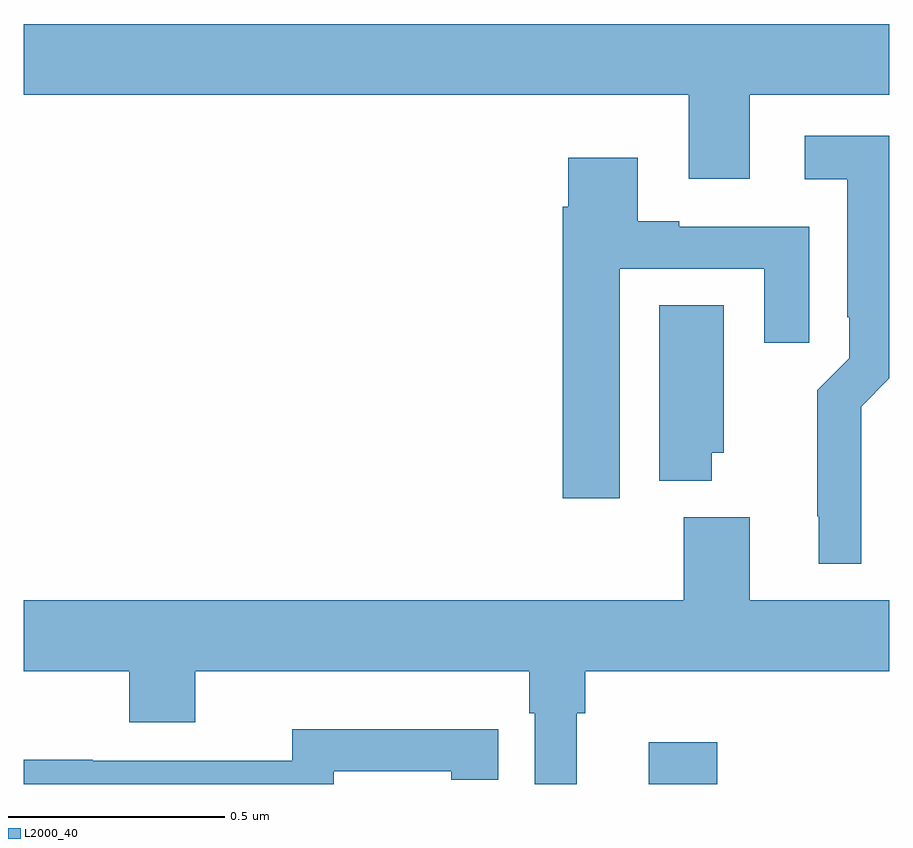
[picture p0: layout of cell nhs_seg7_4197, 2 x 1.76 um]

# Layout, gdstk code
import gdstk
lib = gdstk.Library(unit=1e-6, precision=1e-09)
def R(c, l, rs):  # rectangles x0, y0, x1, y1
    for r in rs: c.add(gdstk.rectangle(r[:2], r[2:], *l))
def P(c, l, *ps):  # polygons
    for p in ps: c.add(gdstk.Polygon(p, *l))
L2000_40 = (2000, 40)

nhs_seg7_4197 = lib.new_cell('nhs_seg7_4197')
R(nhs_seg7_4197, L2000_40, [(170.444,1023,170.603,1023.097)])
P(nhs_seg7_4197, L2000_40, [(170.677,1024.592),(171,1024.592),(171,1024.756),(169,1024.756),(169,1024.592),(170.537,1024.592),(170.537,1024.398),(170.677,1024.398)],
  [(170.935,1023.872),(171,1023.937),(171,1024.498),(170.805,1024.498),(170.805,1024.397),(170.903,1024.397),(170.903,1024.078),(170.907,1024.078),(170.907,1023.984),(170.833,1023.91),(170.833,1023.619),(170.837,1023.619),(170.837,1023.509),(170.935,1023.509)],
  [(170.377,1024.191),(170.711,1024.191),(170.711,1024.02),(170.815,1024.02),(170.815,1024.287),(170.515,1024.287),(170.515,1024.3),(170.419,1024.3),(170.419,1024.447),(170.258,1024.447),(170.258,1024.334),(170.246,1024.334),(170.246,1023.66),(170.377,1023.66)],
  [(170.59,1023.765),(170.617,1023.765),(170.617,1024.106),(170.468,1024.106),(170.468,1023.701),(170.59,1023.701)],
  [(170.278,1023.164),(170.297,1023.164),(170.297,1023.26),(171,1023.26),(171,1023.424),(170.677,1023.424),(170.677,1023.616),(170.525,1023.616),(170.525,1023.424),(169,1023.424),(169,1023.26),(169.244,1023.26),(169.244,1023.143),(169.396,1023.143),(169.396,1023.26),(170.168,1023.26),(170.168,1023.164),(170.181,1023.164),(170.181,1023),(170.278,1023)],
  [(169.716,1023.03),(169.988,1023.03),(169.988,1023.01),(170.096,1023.01),(170.096,1023.126),(169.988,1023.126),(169.988,1023.127),(169.62,1023.127),(169.62,1023.054),(169.16,1023.054),(169.16,1023.056),(169,1023.056),(169,1023),(169.716,1023)])

lib.write_gds('nhs_seg7_4197.gds')
